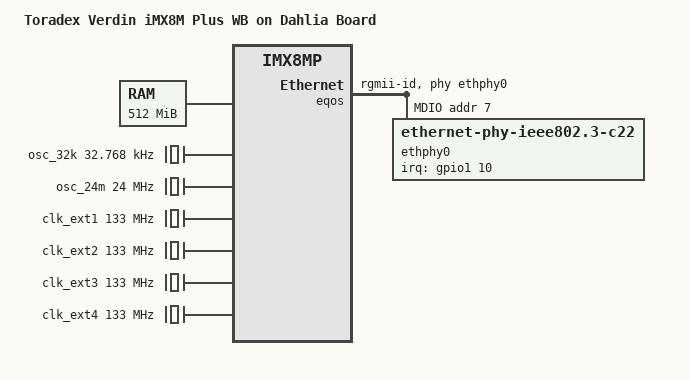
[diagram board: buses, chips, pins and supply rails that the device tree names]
/dts-v1/;

/ {   

	#size-cells = <0x2>;
	#address-cells = <0x2>;

	model = "Toradex Verdin iMX8M Plus WB on Dahlia Board";
	compatible = "toradex,verdin-imx8mp-wifi-dahlia",
		     "toradex,verdin-imx8mp-wifi",
		     "toradex,verdin-imx8mp",
		     "fsl,imx8mp";

	cpus {
		#size-cells = <0x0>;
		#address-cells = <0x1>;

		cpu@0 {
			compatible = "arm,armv8";
			device_type = "cpu";
			enable-method = "psci";
			reg = <0x0>;
		};

		cpu@1 {
			compatible = "arm,armv8";
			device_type = "cpu";
			enable-method = "psci";
			reg = <0x1>;
		};

		cpu@2 {
			reg = <0x2>;
			compatible = "arm,armv8";
			device_type = "cpu";
			enable-method = "psci";
		};
	};

	psci {
		compatible = "arm,psci-0.2";
		method = "smc";
	};


	memory@80200000 {
		reg = <0x0 0x80200000 0x0 0x20000000>;
		device_type = "memory";
	};

	gic: intc@38800000 {
		interrupts = <0x01 0x09 0x04>;
                reg = <0x00 0x38800000 0x00 0x10000 0x00 0x38880000 0x00 0xc0000>;
		compatible = "arm,gic-v3";
		interrupt-controller;
		#interrupt-cells = <0x03>;
                interrupt-parent = <&gic>;
	};

   	timer {
		compatible = "arm,armv8-timer";
		interrupt-parent = <&gic>;
		interrupts = <0x1 0xd 0xf08 0x1 0xe 0xf08 0x1 0xb 0xf08 0x1 0xa 0xf08>;
	};


	osc_32k: clock-osc-32k {
		compatible = "fixed-clock";
		#clock-cells = <0>;
		clock-frequency = <32768>;
		clock-output-names = "osc_32k";
	};

	osc_24m: clock-osc-24m {
		compatible = "fixed-clock";
		#clock-cells = <0>;
		clock-frequency = <24000000>;
		clock-output-names = "osc_24m";
	};

	clk_ext1: clock-ext1 {
		compatible = "fixed-clock";
		#clock-cells = <0>;
		clock-frequency = <133000000>;
		clock-output-names = "clk_ext1";
	};

	clk_ext2: clock-ext2 {
		compatible = "fixed-clock";
		#clock-cells = <0>;
		clock-frequency = <133000000>;
		clock-output-names = "clk_ext2";
	};

	clk_ext3: clock-ext3 {
		compatible = "fixed-clock";
		#clock-cells = <0>;
		clock-frequency = <133000000>;
		clock-output-names = "clk_ext3";
	};

	clk_ext4: clock-ext4 {
		compatible = "fixed-clock";
		#clock-cells = <0>;
		clock-frequency = <133000000>;
		clock-output-names = "clk_ext4";
	};

        anatop: clock-controller@30360000 {
                compatible = "fsl,imx8mp-anatop", "fsl,imx8mm-anatop";
                reg = <0x0 0x30360000 0x0 0x10000>;
                #clock-cells = <1>;
        };

        clk: clock-controller@30380000 {
                compatible = "fsl,imx8mp-ccm";
                reg = <0x0 0x30380000 0x0 0x10000>;
                interrupts = <0 85 4>,
                             <0 86 4>;
                #clock-cells = <1>;
                clocks = <&osc_32k>, <&osc_24m>, <&clk_ext1>, <&clk_ext2>,
                         <&clk_ext3>, <&clk_ext4>;
                clock-names = "osc_32k", "osc_24m", "clk_ext1", "clk_ext2",
                              "clk_ext3", "clk_ext4";
                assigned-clocks = <&clk 66>,
                                  <&clk 288>,
                                  <&clk 103>,
                                  <&clk 104>,
                                  <&clk 148>;
                assigned-clock-parents = <&clk 56>,
                                         <&clk 44>,
                                         <&clk 65>,
                                         <&clk 56>,
                                         <&clk 64>;
                assigned-clock-rates = <0>, <0>,
                                       <1000000000>,
                                       <800000000>,
                                       <500000000>;
                interrupt-parent = <&gic>;
        };

        gpr: syscon@30340000 {
            compatible = "fsl,imx8mp-iomuxc-gpr", "syscon";
            reg = <0x0 0x30340000 0x0 0x10000>;
        };


        iomuxc: pinctrl@30330000 {
                compatible = "fsl,imx8mp-iomuxc";
                reg = <0x0 0x30330000 0x0 0x10000>;

                pinctrl_eqos: eqosgrp {
                    fsl,pins =
                            <0x054 0x2B4 0x000 0x0 0x0  0x3>,
                            <0x058 0x2B8 0x590 0x0 0x1  0x3>,
                            <0x07C 0x2DC 0x000 0x0 0x0  0x91>,
                            <0x080 0x2E0 0x000 0x0 0x0  0x91>,
                            <0x084 0x2E4 0x000 0x0 0x0  0x91>,
                            <0x088 0x2E8 0x000 0x0 0x0  0x91>,
                            <0x078 0x2D8 0x000 0x0 0x0  0x91>,
                            <0x074 0x2D4 0x000 0x0 0x0  0x91>,
                            <0x068 0x2C8 0x000 0x0 0x0  0x1f>,
                            <0x064 0x2C4 0x000 0x0 0x0  0x1f>,
                            <0x060 0x2C0 0x000 0x0 0x0  0x1f>,
                            <0x05C 0x2BC 0x000 0x0 0x0  0x1f>,
                            <0x06C 0x2CC 0x000 0x0 0x0  0x1f>,
                            <0x070 0x2D0 0x000 0x0 0x0  0x1f>;
                };
        };

        gpio1: gpio@30200000 {
            compatible = "fsl,imx8mp-gpio", "fsl,imx35-gpio";
            reg = <0x0 0x30200000 0x0 0x10000>;
            interrupts = <0 64 4>,
                         <0 65 4>;
            clocks = <&clk 193>;
            gpio-controller;
            #gpio-cells = <2>;
            interrupt-controller;
            #interrupt-cells = <2>;
            gpio-ranges = <&iomuxc 0 5 30>;
            interrupt-parent = <&gic>;
        };

        ocotp: efuse@30350000 {
                compatible = "fsl,imx8mp-ocotp", "fsl,imx8mm-ocotp", "syscon";
                reg = <0x0 0x30350000 0x0 0x10000>;
                clocks = <&clk 214>;
                /* For nvmem subnodes */
                #address-cells = <1>;
                #size-cells = <1>;

                eth_mac1: mac-address@90 { /* 0x640 */
                        reg = <0x90 6>;
                };

                eth_mac2: mac-address@96 { /* 0x658 */
                        reg = <0x96 6>;
                };
        };

        eqos: ethernet@30bf0000 {
                compatible = "nxp,imx8mp-dwmac-eqos", "snps,dwmac-5.10a";
                reg = <0x0 0x30bf0000 0x0 0x10000>;
                interrupts = <0 135 4>,
                             <0 134 4>;
                interrupt-names = "macirq", "eth_wake_irq";
                clocks = <&clk 237>,
                         <&clk 225>,
                         <&clk 130>,
                         <&clk 129>;
                clock-names = "stmmaceth", "pclk", "ptp_ref", "tx";
                assigned-clocks = <&clk 94>,
                                  <&clk 130>,
                                  <&clk 129>;
                assigned-clock-parents = <&clk 54>,
                                         <&clk 58>,
                                         <&clk 59>;
                assigned-clock-rates = <0>, <100000000>, <125000000>;
                nvmem-cells = <&eth_mac2>;
                nvmem-cell-names = "mac-address";
                intf_mode = <&gpr 0x4>;
                status = "okay";
                interrupt-parent = <&gic>;

                phy-handle = <&ethphy0>;
                phy-mode = "rgmii-id";
                pinctrl-names = "default";
                pinctrl-0 = <&pinctrl_eqos>;
                snps,force_thresh_dma_mode;
                snps,mtl-rx-config = <&mtl_rx_setup>;
                snps,mtl-tx-config = <&mtl_tx_setup>;


                mdio {
                        compatible = "snps,dwmac-mdio";
                        #address-cells = <1>;
                        #size-cells = <0>;

                        ethphy0: ethernet-phy@7 {
                                compatible = "ethernet-phy-ieee802.3-c22";
                                eee-broken-100tx;
                                eee-broken-1000t;
                                interrupt-parent = <&gpio1>;
                                interrupts = <10 8>;
                                micrel,led-mode = <0>;
                                reg = <7>;
                        };
                };

                mtl_rx_setup: rx-queues-config {
                        snps,rx-queues-to-use = <5>;

                        queue0 {
                                snps,dcb-algorithm;
                                snps,priority = <0x1>;
                                snps,map-to-dma-channel = <0>;
                        };

                        queue1 {
                                snps,dcb-algorithm;
                                snps,priority = <0x2>;
                                snps,map-to-dma-channel = <1>;
                        };

                        queue2 {
                                snps,dcb-algorithm;
                                snps,priority = <0x4>;
                                snps,map-to-dma-channel = <2>;
                        };

                        queue3 {
                                snps,dcb-algorithm;
                                snps,priority = <0x8>;
                                snps,map-to-dma-channel = <3>;
                        };

                        queue4 {
                                snps,dcb-algorithm;
                                snps,priority = <0xf0>;
                                snps,map-to-dma-channel = <4>;
                        };
                };

                mtl_tx_setup: tx-queues-config {
                        snps,tx-queues-to-use = <5>;

                        queue0 {
                                snps,dcb-algorithm;
                                snps,priority = <0x1>;
                        };

                        queue1 {
                                snps,dcb-algorithm;
                                snps,priority = <0x2>;
                        };

                        queue2 {
                                snps,dcb-algorithm;
                                snps,priority = <0x4>;
                        };

                        queue3 {
                                snps,dcb-algorithm;
                                snps,priority = <0x8>;
                        };

                        queue4 {
                                snps,dcb-algorithm;
                                snps,priority = <0xf0>;
                        };
                };

        };

        bao-ipc@f0000000 {
                    compatible = "bao,ipcshmem";
                    reg = <0x0 0xf0000000 0x0 0x00010000>;
                    read-channel = <0x0 0x2000>;
                    write-channel = <0x2000 0x2000>;
                    interrupts = <0 20 1>;
                    interrupt-parent = <&gic>;
                    id = <0>;
        };

	aliases {
                ethernet1 = &eqos;
                gpio0 = &gpio1;
	};

	chosen {
		bootargs = "clk_ignore_unused ip=192.168.42.15 carrier_timeout=0";
	};
};
